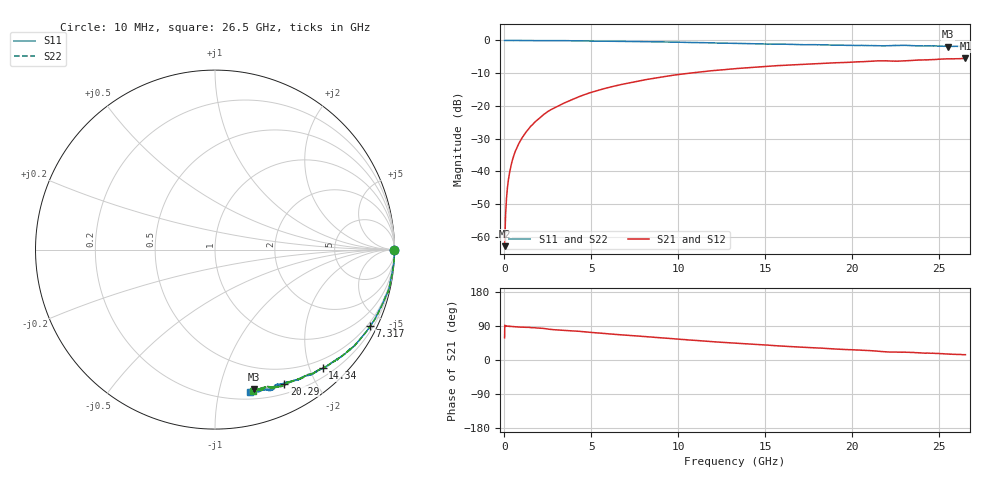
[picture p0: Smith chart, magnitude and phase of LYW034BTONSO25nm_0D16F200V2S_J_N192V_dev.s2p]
!Keysight Technologies,N5222B,MY61253708,A.15.00.15
!Date: Wednesday, June 19, 2024 10:38:49
!Correction: S11(C  2-Port  )
!S21(C  2-Port  )
!S12(C  2-Port  )
!S22(C  2-Port  )
!S2P File: Measurements: S11, S21, S12, S22:
# Hz S  RI  R 50
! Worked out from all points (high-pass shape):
!   2651 points, 10 MHz to 26.5 GHz, reference 50 ohm
!   highest |S21| = -5.46 dB at 26.5 GHz (marker M1); lowest = -62.9 dB at 20 MHz (marker M2)
!   |S21| within 3 dB of the highest: 13.63884 GHz to 13.66133 GHz (22.49 MHz wide, 0.165 % of centre); 13.69 GHz to end of sweep
!   lowest |S11| = -1.9 dB at 25.5 GHz (marker M3), VSWR 9.38, Z = 14.3 - j63.8 ohm
!   |S11| at or under -10 dB: nowhere
!   |S22| runs from -1.8 to 0.0 dB; largest |S21 - S12| = 0.0071
!   S11 on the Smith chart (normalised r, x): 10 MHz: open; 7.317 GHz: 0.35, -4.26; 14.34 GHz: 0.34, -2.22; 20.29 GHz: 0.31, -1.60; 26.5 GHz: 0.26, -1.25
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1e7  0.9984 -0.00313  0.000419 0.000684  6.16e-05 0.000323  0.9978 -0.00213
1.999623e7  0.9998 -0.00237  -2.15e-05 0.000716  4.61e-05 0.000478  0.9998 -0.00236
8.996981e7  1 -0.00568  2.78e-05 0.0029  3.03e-05 0.0029  0.9996 -0.0054
1.599434e8  0.9999 -0.0112  4.99e-05 0.00518  6.26e-05 0.00516  0.9997 -0.0105
2.099245e8  0.9998 -0.0138  9.14e-05 0.00678  8.3e-05 0.00677  0.9995 -0.0132
2.699019e8  0.9999 -0.0179  0.000229 0.00871  0.000146 0.00871  1 -0.0171
3.698642e8  0.9999 -0.025  0.000273 0.0119  0.000289 0.012  0.9995 -0.0241
4.998151e8  0.9986 -0.0328  0.000529 0.0161  0.000529 0.0161  0.999 -0.0318
8.596792e8  0.998 -0.0558  0.00148 0.0275  0.00146 0.0275  0.9977 -0.0554
1.459453e9  0.9911 -0.0959  0.00342 0.0471  0.00338 0.047  0.9935 -0.0921
2.349117e9  0.9826 -0.1497  0.00962 0.0764  0.00974 0.0766  0.984 -0.1498
3.228785e9  0.972 -0.2048  0.0202 0.1021  0.0203 0.1023  0.9733 -0.202
4.428332e9  0.9452 -0.2751  0.0366 0.1384  0.0367 0.1387  0.947 -0.2725
7.317242e9  0.8649 -0.4261  0.0989 0.2064  0.0997 0.2065  0.8665 -0.4255
8.846664e9  0.8112 -0.4952  0.1395 0.2331  0.1403 0.2331  0.8126 -0.494
1.3255e10  0.6401 -0.6372  0.2639 0.2595  0.2653 0.2588  0.6431 -0.6366
1.434459e10  0.6003 -0.6611  0.2913 0.2574  0.2929 0.2565  0.6024 -0.659
1.767333e10  0.4707 -0.7204  0.3695 0.2347  0.372 0.233  0.4797 -0.7183
2.029234e10  0.3861 -0.7464  0.4202 0.2088  0.4225 0.2066  0.3996 -0.7479
2.209166e10  0.3362 -0.7572  0.4532 0.1752  0.4542 0.1725  0.3283 -0.7632
2.550038e10  0.2163 -0.7778  0.5035 0.14  0.5042 0.1401  0.2354 -0.7799
2.65e10  0.1969 -0.7927  0.5171 0.1293  0.5158 0.1256  0.209 -0.7906
